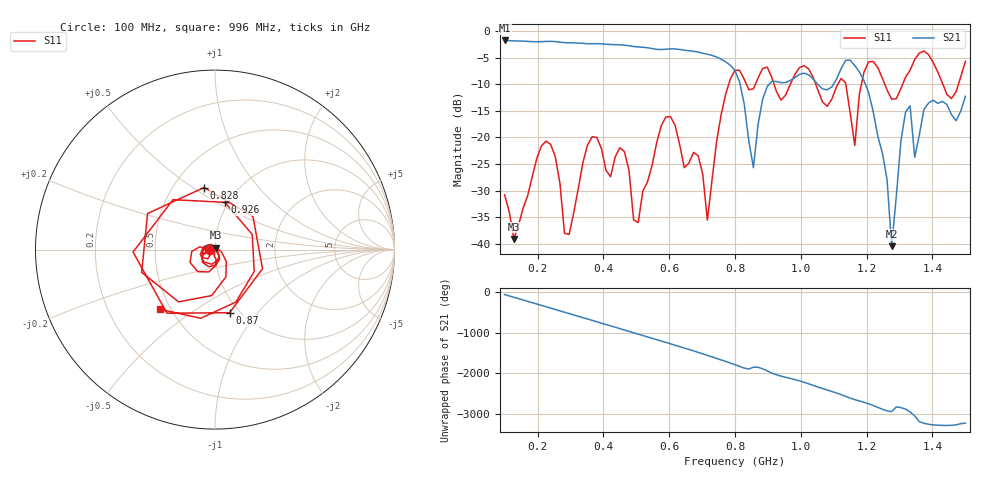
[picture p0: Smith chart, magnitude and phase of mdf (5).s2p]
! NanoVNA-App
! Date: 2025-09-25 15:38:28
! Start: 100MHz Stop: 1,5GHz Points: 101
! S-Parameter data: F S11 S21 S12 S22
# Hz S RI R 50
!  Frequency  S11_Real  S11_Imag  S21_Real  S21_Imag  S12_Real  S12_Imag  S22_Real  S22_Imag
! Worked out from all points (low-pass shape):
!   101 points, 100 MHz to 1.5 GHz, reference 50 ohm
!   highest |S21| = -1.80 dB at 100 MHz (marker M1); lowest = -40.4 dB at 1.276 GHz (marker M2)
!   |S21| within 3 dB of the highest: start of sweep to 739.1 MHz
!   lowest |S11| = -39.0 dB at 128 MHz (marker M3), VSWR 1.02, Z = 50.3 + j1.07 ohm
!   |S11| at or under -10 dB: start of sweep to 781 MHz; 918.5 MHz to 968.4 MHz (49.92 MHz wide, 5.29 % of centre); 1.045 GHz to 1.113 GHz (67.59 MHz wide, 6.26 % of centre)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
!   S12 and S22 are empty: the file has one direction only
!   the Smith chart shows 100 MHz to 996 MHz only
!   S11 on the Smith chart (normalised r, x): 100 MHz: 0.94, -0.01; 828 MHz: 0.70, +0.56; 870 MHz: 0.90, -0.73; 926 MHz: 0.96, +0.55; 996 MHz: 0.44, -0.36
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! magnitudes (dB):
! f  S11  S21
! 100 MHz  -30.8  -1.8
! 128 MHz  -39.0  -1.9
! 212 MHz  -21.6  -2.0
! 282 MHz  -38.0  -2.2
! 338 MHz  -24.7  -2.3
! 464 MHz  -22.7  -2.7
! 506 MHz  -36.0  -3.0
! 576 MHz  -17.8  -3.5
! 716 MHz  -35.5  -4.4
! 800 MHz  -7.4  -7.5
! 828 MHz  -9.1  -13.7
! 856 MHz  -10.9  -25.7
! 870 MHz  -8.9  -17.6
! 926 MHz  -11.4  -9.5
! 996 MHz  -6.9  -8.2
! 1.038 GHz  -8.8  -9.1
! 1.136 GHz  -9.7  -5.5
! 1.164 GHz  -21.5  -6.5
! 1.192 GHz  -7.7  -9.3
! 1.276 GHz  -12.8  -40.4
! 1.318 GHz  -8.7  -15.3
! 1.5 GHz  -5.7  -12.3
